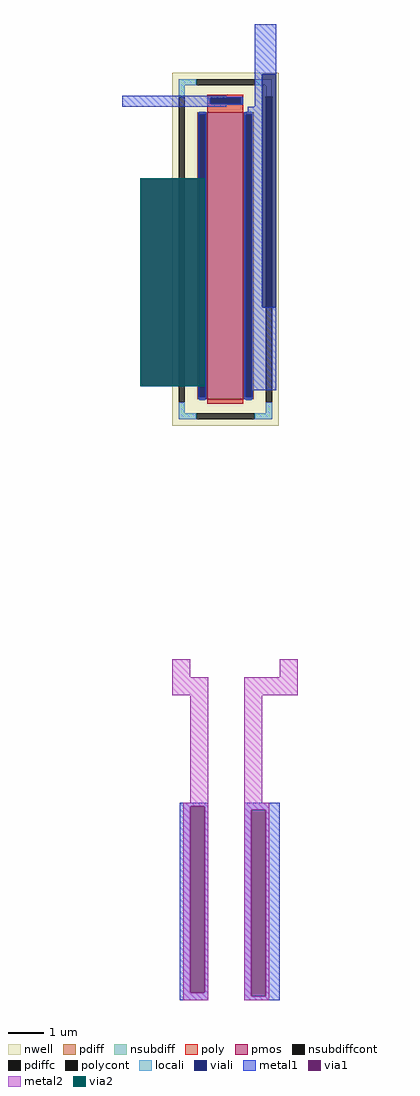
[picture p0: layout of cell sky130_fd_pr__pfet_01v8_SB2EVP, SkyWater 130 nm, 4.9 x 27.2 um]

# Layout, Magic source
magic
tech sky130A
magscale 1 2
<< nwell >>
rect -296 -984 296 984
<< pmos >>
rect -100 -836 100 764
<< pdiff >>
rect -158 752 -100 764
rect -158 -824 -146 752
rect -112 -824 -100 752
rect -158 -836 -100 -824
rect 100 752 158 764
rect 100 -824 112 752
rect 146 -824 158 752
rect 100 -836 158 -824
<< pdiffc >>
rect -146 -824 -112 752
rect 112 -824 146 752
<< nsubdiff >>
rect -260 914 -164 948
rect 164 914 260 948
rect -260 851 -226 914
rect 226 851 260 914
rect -260 -914 -226 -851
rect 226 -914 260 -851
rect -260 -948 -164 -914
rect 164 -948 260 -914
<< nsubdiffcont >>
rect -164 914 164 948
rect -260 -851 -226 851
rect 226 -851 260 851
rect -164 -948 164 -914
<< poly >>
rect -100 845 100 861
rect -100 811 -84 845
rect 84 811 100 845
rect -100 764 100 811
rect -100 -862 100 -836
<< polycont >>
rect -84 811 84 845
<< locali >>
rect -260 914 -164 948
rect 164 914 204 948
rect -260 851 -226 914
rect -100 811 -84 845
rect 84 811 100 845
rect -146 752 -112 768
rect -146 -840 -112 -824
rect 112 752 146 768
rect 112 -840 146 -824
rect -260 -914 -226 -851
rect 226 -914 260 -851
rect -260 -948 -164 -914
rect 164 -948 260 -914
<< viali >>
rect 204 851 284 976
rect -84 811 84 845
rect -146 -824 -112 752
rect 112 -824 146 752
rect 204 -324 226 851
rect 226 -324 260 851
rect 260 -324 284 851
<< metal1 >>
rect 164 976 284 1256
rect -576 851 4 856
rect -576 845 96 851
rect -576 811 -84 845
rect 84 811 96 845
rect -576 805 96 811
rect -576 796 4 805
rect 164 796 204 976
rect 124 764 204 796
rect -152 752 -106 764
rect -152 396 -146 752
rect -152 -824 -146 -764
rect -112 -824 -106 752
rect -152 -836 -106 -824
rect 106 752 204 764
rect 106 -824 112 752
rect 146 -324 204 752
rect 146 -784 284 -324
rect 146 -824 152 -784
rect 106 -836 152 -824
rect -256 -3104 -96 -3084
rect -256 -4144 -196 -3104
rect -116 -4144 -96 -3104
rect -256 -4184 -96 -4144
rect 104 -3124 304 -3084
rect 104 -4164 144 -3124
rect 224 -4164 304 -3124
rect 104 -4184 304 -4164
<< via1 >>
rect -476 -764 -146 396
rect -146 -764 -116 396
rect -196 -4144 -116 -3104
rect 144 -4164 224 -3124
<< metal2 >>
rect -296 -2384 -196 -2284
rect 304 -2384 404 -2284
rect -296 -2484 -96 -2384
rect -196 -3084 -96 -2484
rect -236 -3104 -96 -3084
rect -236 -4144 -196 -3104
rect -116 -4144 -96 -3104
rect -236 -4184 -96 -4144
rect 104 -2484 404 -2384
rect 104 -3084 204 -2484
rect 104 -3124 244 -3084
rect 104 -4164 144 -3124
rect 224 -4164 244 -3124
rect 104 -4184 244 -4164
<< via2 >>
rect -476 -764 -116 396
<< properties >>
string FIXED_BBOX -243 -931 243 931
string gencell sky130_fd_pr__pfet_01v8
string library sky130
string parameters w 8.0 l 1.0 m 1 nf 1 diffcov 100 polycov 100 guard 1 glc 1 grc 1 gtc 1 gbc 1 tbcov 100 rlcov 100 topc 1 botc 0 poverlap 0 doverlap 1 lmin 0.15 wmin 0.42 compatible {sky130_fd_pr__pfet_01v8  sky130_fd_pr__pfet_01v8_lvt sky130_fd_pr__pfet_01v8_hvt  sky130_fd_pr__pfet_g5v0d10v5} full_metal 1 viasrc 100 viadrn 100 viagate 100 viagb 0 viagr 0 viagl 0 viagt 0
<< end >>
